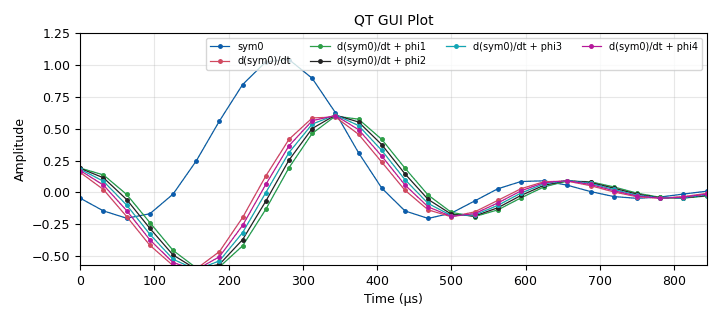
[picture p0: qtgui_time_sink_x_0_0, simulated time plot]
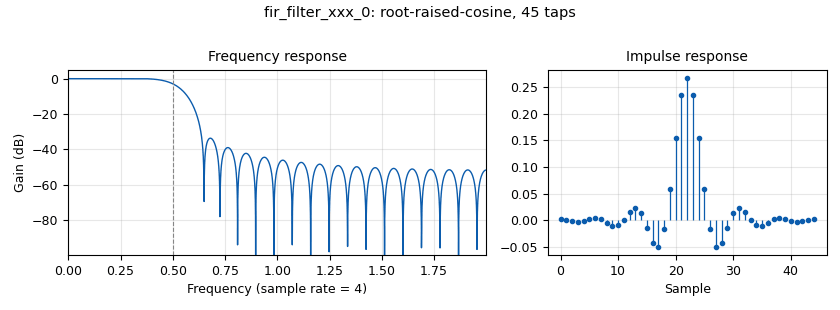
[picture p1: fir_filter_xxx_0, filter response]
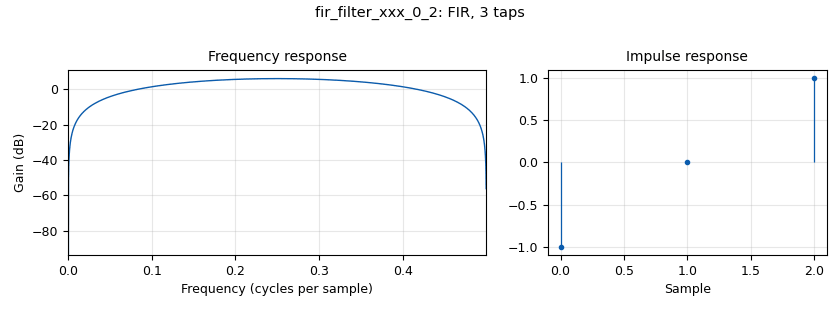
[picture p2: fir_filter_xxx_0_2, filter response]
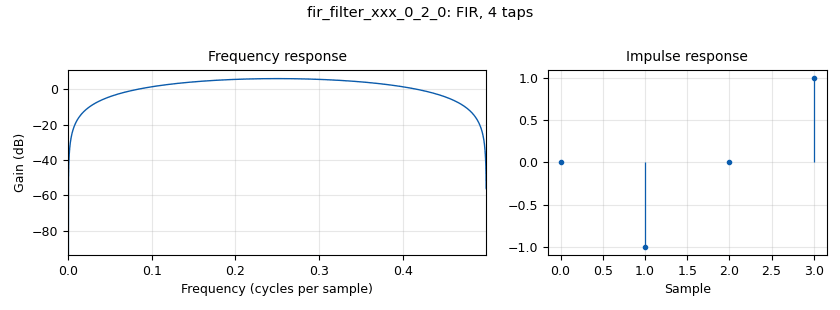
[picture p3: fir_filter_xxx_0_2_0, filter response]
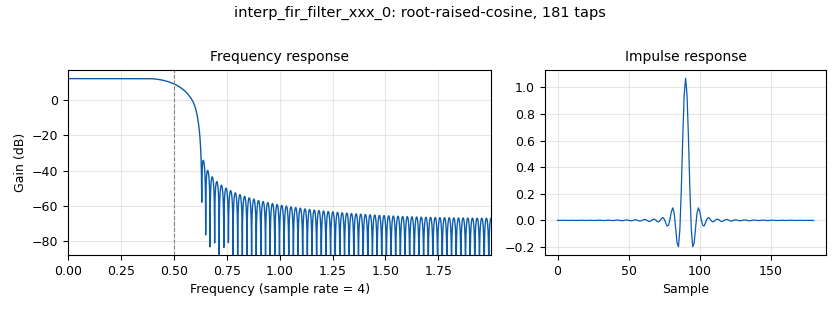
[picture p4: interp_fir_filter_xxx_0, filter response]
<?xml version='1.0' encoding='utf-8'?>
<?grc format='1' created='3.7.13'?>
<flow_graph>
<block>
<key>options</key>
<param><key>id</key><value>symbol_differential_filter_phases</value></param>
<param><key>category</key><value>Custom</value></param>
<param><key>generate_options</key><value>qt_gui</value></param>
</block>
<block>
<key>variable</key>
<param><key>id</key><value>eb</value></param>
<param><key>value</key><value>0.25</value></param>
</block>
<block>
<key>variable</key>
<param><key>id</key><value>ntaps</value></param>
<param><key>value</key><value>45</value></param>
</block>
<block>
<key>variable</key>
<param><key>id</key><value>rate</value></param>
<param><key>value</key><value>1.2</value></param>
</block>
<block>
<key>variable</key>
<param><key>id</key><value>rrc_rx</value></param>
<param><key>value</key><value>firdes.root_raised_cosine(1.0, sps, 1, eb, ntaps)</value></param>
</block>
<block>
<key>variable</key>
<param><key>id</key><value>rrc_tx</value></param>
<param><key>value</key><value>firdes.root_raised_cosine(sps, sps, 1, eb, sps*ntaps)</value></param>
</block>
<block>
<key>variable</key>
<param><key>id</key><value>samp_rate</value></param>
<param><key>value</key><value>32000</value></param>
</block>
<block>
<key>variable</key>
<param><key>id</key><value>sps</value></param>
<param><key>value</key><value>4</value></param>
</block>
<block>
<key>blocks_delay</key>
<param><key>id</key><value>blocks_delay_0_0</value></param>
<param><key>delay</key><value>0</value></param>
<param><key>type</key><value>float</value></param>
</block>
<block>
<key>blocks_delay</key>
<param><key>id</key><value>blocks_delay_0_0_0</value></param>
<param><key>delay</key><value>1</value></param>
<param><key>type</key><value>float</value></param>
</block>
<block>
<key>blocks_delay</key>
<param><key>id</key><value>blocks_delay_0_0_1</value></param>
<param><key>delay</key><value>1</value></param>
<param><key>type</key><value>float</value></param>
</block>
<block>
<key>blocks_delay</key>
<param><key>id</key><value>blocks_delay_0_0_2</value></param>
<param><key>delay</key><value>1</value></param>
<param><key>type</key><value>float</value></param>
</block>
<block>
<key>blocks_delay</key>
<param><key>id</key><value>blocks_delay_0_0_3</value></param>
<param><key>delay</key><value>1</value></param>
<param><key>type</key><value>float</value></param>
</block>
<block>
<key>blocks_delay</key>
<param><key>id</key><value>blocks_delay_0_0_4</value></param>
<param><key>delay</key><value>1</value></param>
<param><key>type</key><value>float</value></param>
</block>
<block>
<key>blocks_throttle</key>
<param><key>id</key><value>blocks_throttle_0</value></param>
<param><key>samples_per_second</key><value>samp_rate</value></param>
<param><key>type</key><value>float</value></param>
</block>
<block>
<key>blocks_vector_source_x</key>
<param><key>id</key><value>blocks_vector_source_x_0</value></param>
<param><key>type</key><value>float</value></param>
<param><key>repeat</key><value>True</value></param>
<param><key>vector</key><value>49*[0,] + [1,] + 50*[0,]</value></param>
</block>
<block>
<key>fir_filter_xxx</key>
<param><key>id</key><value>fir_filter_xxx_0</value></param>
<param><key>decim</key><value>1</value></param>
<param><key>taps</key><value>rrc_rx</value></param>
<param><key>type</key><value>fff</value></param>
</block>
<block>
<key>fir_filter_xxx</key>
<param><key>id</key><value>fir_filter_xxx_0_2</value></param>
<param><key>decim</key><value>1</value></param>
<param><key>taps</key><value>[-1, 0, 1]</value></param>
<param><key>type</key><value>fff</value></param>
</block>
<block>
<key>fir_filter_xxx</key>
<param><key>id</key><value>fir_filter_xxx_0_2_0</value></param>
<param><key>decim</key><value>1</value></param>
<param><key>taps</key><value>[0,-1, 0, 1]</value></param>
<param><key>type</key><value>fff</value></param>
</block>
<block>
<key>fir_filter_xxx</key>
<param><key>id</key><value>fir_filter_xxx_0_2_0_0</value></param>
<param><key>decim</key><value>1</value></param>
<param><key>taps</key><value>[0,-1, 0, 1]</value></param>
<param><key>type</key><value>fff</value></param>
</block>
<block>
<key>fir_filter_xxx</key>
<param><key>id</key><value>fir_filter_xxx_0_2_0_1</value></param>
<param><key>decim</key><value>1</value></param>
<param><key>taps</key><value>[0,-1, 0, 1]</value></param>
<param><key>type</key><value>fff</value></param>
</block>
<block>
<key>fir_filter_xxx</key>
<param><key>id</key><value>fir_filter_xxx_0_2_0_1_0</value></param>
<param><key>decim</key><value>1</value></param>
<param><key>taps</key><value>[0,-1, 0, 1]</value></param>
<param><key>type</key><value>fff</value></param>
</block>
<block>
<key>fractional_resampler_xx</key>
<param><key>id</key><value>fractional_resampler_xx_0</value></param>
<param><key>phase_shift</key><value>1*1.0/5</value></param>
<param><key>resamp_ratio</key><value>1</value></param>
<param><key>type</key><value>float</value></param>
</block>
<block>
<key>fractional_resampler_xx</key>
<param><key>id</key><value>fractional_resampler_xx_0_0</value></param>
<param><key>phase_shift</key><value>2*1.0/5</value></param>
<param><key>resamp_ratio</key><value>1</value></param>
<param><key>type</key><value>float</value></param>
</block>
<block>
<key>fractional_resampler_xx</key>
<param><key>id</key><value>fractional_resampler_xx_0_1</value></param>
<param><key>phase_shift</key><value>3*1.0/5</value></param>
<param><key>resamp_ratio</key><value>1</value></param>
<param><key>type</key><value>float</value></param>
</block>
<block>
<key>fractional_resampler_xx</key>
<param><key>id</key><value>fractional_resampler_xx_0_1_0</value></param>
<param><key>phase_shift</key><value>4*1.0/5</value></param>
<param><key>resamp_ratio</key><value>1</value></param>
<param><key>type</key><value>float</value></param>
</block>
<block>
<key>fractional_resampler_xx</key>
<param><key>id</key><value>fractional_resampler_xx_0_2</value></param>
<param><key>phase_shift</key><value>0*1.0/5</value></param>
<param><key>resamp_ratio</key><value>1</value></param>
<param><key>type</key><value>float</value></param>
</block>
<block>
<key>import</key>
<param><key>id</key><value>import_math</value></param>
<param><key>import</key><value>import math</value></param>
</block>
<block>
<key>interp_fir_filter_xxx</key>
<param><key>id</key><value>interp_fir_filter_xxx_0</value></param>
<param><key>interp</key><value>sps</value></param>
<param><key>taps</key><value>rrc_tx</value></param>
<param><key>type</key><value>fff</value></param>
</block>
<block>
<key>pfb_arb_resampler_xxx</key>
<param><key>id</key><value>pfb_arb_resampler_xxx_0_0_1</value></param>
<param><key>nfilts</key><value>32</value></param>
<param><key>rrate</key><value>rate</value></param>
<param><key>atten</key><value>100</value></param>
<param><key>type</key><value>fff</value></param>
</block>
<block>
<key>qtgui_time_sink_x</key>
<param><key>id</key><value>qtgui_time_sink_x_0_0</value></param>
<param><key>gui_hint</key><value>0,1,1,1</value></param>
<param><key>color1</key><value>"blue"</value></param>
<param><key>label1</key><value>sym0</value></param>
<param><key>marker1</key><value>0</value></param>
<param><key>width1</key><value>2</value></param>
<param><key>color2</key><value>"red"</value></param>
<param><key>label2</key><value>d(sym0)/dt</value></param>
<param><key>marker2</key><value>0</value></param>
<param><key>width2</key><value>2</value></param>
<param><key>color3</key><value>"green"</value></param>
<param><key>label3</key><value>d(sym0)/dt + phi1</value></param>
<param><key>marker3</key><value>0</value></param>
<param><key>width3</key><value>2</value></param>
<param><key>color4</key><value>"black"</value></param>
<param><key>label4</key><value>d(sym0)/dt + phi2</value></param>
<param><key>marker4</key><value>0</value></param>
<param><key>width4</key><value>2</value></param>
<param><key>color5</key><value>"cyan"</value></param>
<param><key>label5</key><value>d(sym0)/dt + phi3</value></param>
<param><key>marker5</key><value>0</value></param>
<param><key>width5</key><value>2</value></param>
<param><key>color6</key><value>"magenta"</value></param>
<param><key>label6</key><value>d(sym0)/dt + phi4</value></param>
<param><key>marker6</key><value>0</value></param>
<param><key>width6</key><value>2</value></param>
<param><key>name</key><value>QT GUI Plot</value></param>
<param><key>nconnections</key><value>6</value></param>
<param><key>size</key><value>7*sps</value></param>
<param><key>srate</key><value>samp_rate</value></param>
<param><key>tr_delay</key><value>0.00005*sps</value></param>
<param><key>tr_level</key><value>0.8</value></param>
<param><key>tr_mode</key><value>qtgui.TRIG_MODE_NORM</value></param>
<param><key>type</key><value>float</value></param>
<param><key>update_time</key><value>0.01</value></param>
<param><key>ymax</key><value>1.25</value></param>
<param><key>ymin</key><value>-0.5</value></param>
</block>
<connection><source_block_id>blocks_delay_0_0</source_block_id><sink_block_id>qtgui_time_sink_x_0_0</sink_block_id><source_key>0</source_key><sink_key>0</sink_key></connection>
<connection><source_block_id>blocks_delay_0_0_0</source_block_id><sink_block_id>qtgui_time_sink_x_0_0</sink_block_id><source_key>0</source_key><sink_key>5</sink_key></connection>
<connection><source_block_id>blocks_delay_0_0_1</source_block_id><sink_block_id>qtgui_time_sink_x_0_0</sink_block_id><source_key>0</source_key><sink_key>4</sink_key></connection>
<connection><source_block_id>blocks_delay_0_0_2</source_block_id><sink_block_id>qtgui_time_sink_x_0_0</sink_block_id><source_key>0</source_key><sink_key>3</sink_key></connection>
<connection><source_block_id>blocks_delay_0_0_3</source_block_id><sink_block_id>qtgui_time_sink_x_0_0</sink_block_id><source_key>0</source_key><sink_key>2</sink_key></connection>
<connection><source_block_id>blocks_delay_0_0_4</source_block_id><sink_block_id>qtgui_time_sink_x_0_0</sink_block_id><source_key>0</source_key><sink_key>1</sink_key></connection>
<connection><source_block_id>blocks_throttle_0</source_block_id><sink_block_id>interp_fir_filter_xxx_0</sink_block_id><source_key>0</source_key><sink_key>0</sink_key></connection>
<connection><source_block_id>blocks_vector_source_x_0</source_block_id><sink_block_id>blocks_throttle_0</sink_block_id><source_key>0</source_key><sink_key>0</sink_key></connection>
<connection><source_block_id>fir_filter_xxx_0</source_block_id><sink_block_id>blocks_delay_0_0</sink_block_id><source_key>0</source_key><sink_key>0</sink_key></connection>
<connection><source_block_id>fir_filter_xxx_0</source_block_id><sink_block_id>fractional_resampler_xx_0</sink_block_id><source_key>0</source_key><sink_key>0</sink_key></connection>
<connection><source_block_id>fir_filter_xxx_0</source_block_id><sink_block_id>fractional_resampler_xx_0_0</sink_block_id><source_key>0</source_key><sink_key>0</sink_key></connection>
<connection><source_block_id>fir_filter_xxx_0</source_block_id><sink_block_id>fractional_resampler_xx_0_1</sink_block_id><source_key>0</source_key><sink_key>0</sink_key></connection>
<connection><source_block_id>fir_filter_xxx_0</source_block_id><sink_block_id>fractional_resampler_xx_0_1_0</sink_block_id><source_key>0</source_key><sink_key>0</sink_key></connection>
<connection><source_block_id>fir_filter_xxx_0</source_block_id><sink_block_id>fractional_resampler_xx_0_2</sink_block_id><source_key>0</source_key><sink_key>0</sink_key></connection>
<connection><source_block_id>fir_filter_xxx_0_2</source_block_id><sink_block_id>blocks_delay_0_0_4</sink_block_id><source_key>0</source_key><sink_key>0</sink_key></connection>
<connection><source_block_id>fir_filter_xxx_0_2_0</source_block_id><sink_block_id>blocks_delay_0_0_3</sink_block_id><source_key>0</source_key><sink_key>0</sink_key></connection>
<connection><source_block_id>fir_filter_xxx_0_2_0_0</source_block_id><sink_block_id>blocks_delay_0_0_2</sink_block_id><source_key>0</source_key><sink_key>0</sink_key></connection>
<connection><source_block_id>fir_filter_xxx_0_2_0_1</source_block_id><sink_block_id>blocks_delay_0_0_1</sink_block_id><source_key>0</source_key><sink_key>0</sink_key></connection>
<connection><source_block_id>fir_filter_xxx_0_2_0_1_0</source_block_id><sink_block_id>blocks_delay_0_0_0</sink_block_id><source_key>0</source_key><sink_key>0</sink_key></connection>
<connection><source_block_id>fractional_resampler_xx_0</source_block_id><sink_block_id>fir_filter_xxx_0_2_0</sink_block_id><source_key>0</source_key><sink_key>0</sink_key></connection>
<connection><source_block_id>fractional_resampler_xx_0_0</source_block_id><sink_block_id>fir_filter_xxx_0_2_0_0</sink_block_id><source_key>0</source_key><sink_key>0</sink_key></connection>
<connection><source_block_id>fractional_resampler_xx_0_1</source_block_id><sink_block_id>fir_filter_xxx_0_2_0_1</sink_block_id><source_key>0</source_key><sink_key>0</sink_key></connection>
<connection><source_block_id>fractional_resampler_xx_0_1_0</source_block_id><sink_block_id>fir_filter_xxx_0_2_0_1_0</sink_block_id><source_key>0</source_key><sink_key>0</sink_key></connection>
<connection><source_block_id>fractional_resampler_xx_0_2</source_block_id><sink_block_id>fir_filter_xxx_0_2</sink_block_id><source_key>0</source_key><sink_key>0</sink_key></connection>
<connection><source_block_id>interp_fir_filter_xxx_0</source_block_id><sink_block_id>pfb_arb_resampler_xxx_0_0_1</sink_block_id><source_key>0</source_key><sink_key>0</sink_key></connection>
<connection><source_block_id>pfb_arb_resampler_xxx_0_0_1</source_block_id><sink_block_id>fir_filter_xxx_0</sink_block_id><source_key>0</source_key><sink_key>0</sink_key></connection>
</flow_graph>
